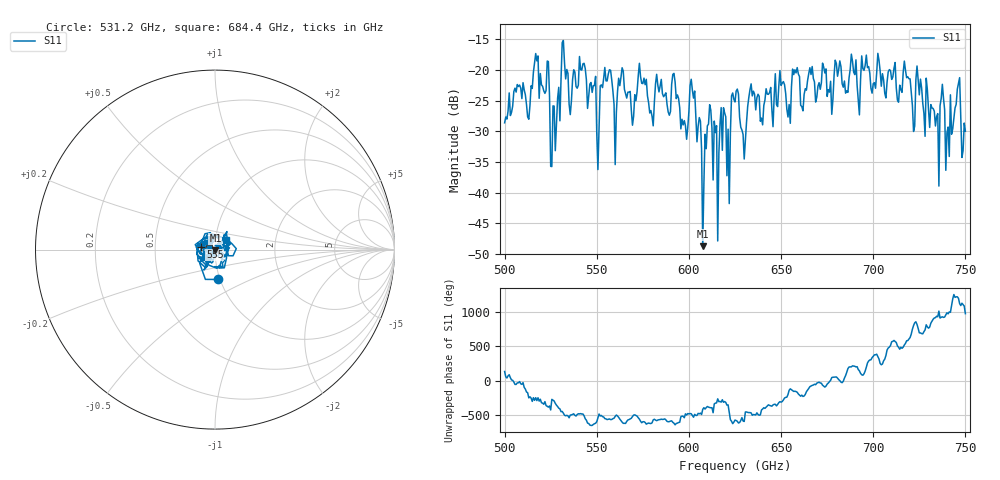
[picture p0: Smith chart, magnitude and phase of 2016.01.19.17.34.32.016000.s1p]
!Created with skrf (http://scikit-rf.org).
# GHz S RI R 50.0
!freq ReS11 ImS11
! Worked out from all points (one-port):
!   401 points, 500 GHz to 750 GHz, reference 50 ohm
!   lowest |S11| = -48.7 dB at 607.5 GHz (marker M1), VSWR 1.01, Z = 50.2 - j0.291 ohm
!   |S11| at or under -10 dB: start of sweep to end of sweep
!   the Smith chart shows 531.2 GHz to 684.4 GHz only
!   S11 on the Smith chart (normalised r, x): 531.2 GHz: 0.98, -0.34; 555 GHz: 0.85, +0.03; 684.4 GHz: 1.13, +0.12
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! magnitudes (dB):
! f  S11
! 500 GHz  -28.6
! 513.1 GHz  -28.0
! 516.9 GHz  -17.3
! 523.1 GHz  -18.5
! 526.2 GHz  -25.9
! 531.2 GHz  -15.5
! 551.2 GHz  -29.4
! 555 GHz  -21.8
! 560 GHz  -35.4
! 562.5 GHz  -22.6
! 593.8 GHz  -24.1
! 598.1 GHz  -29.1
! 601.9 GHz  -23.3
! 607.5 GHz  -48.7
! 611.2 GHz  -25.7
! 621.2 GHz  -29.7
! 625 GHz  -25.2
! 629.4 GHz  -30.5
! 633.8 GHz  -22.3
! 656.2 GHz  -19.8
! 684.4 GHz  -21.8
! 687.5 GHz  -19.9
! 718.8 GHz  -21.1
! 734.4 GHz  -27.6
! 737.5 GHz  -22.3
! 740 GHz  -30.2
! 745.6 GHz  -23.1
! 750 GHz  -30.0
